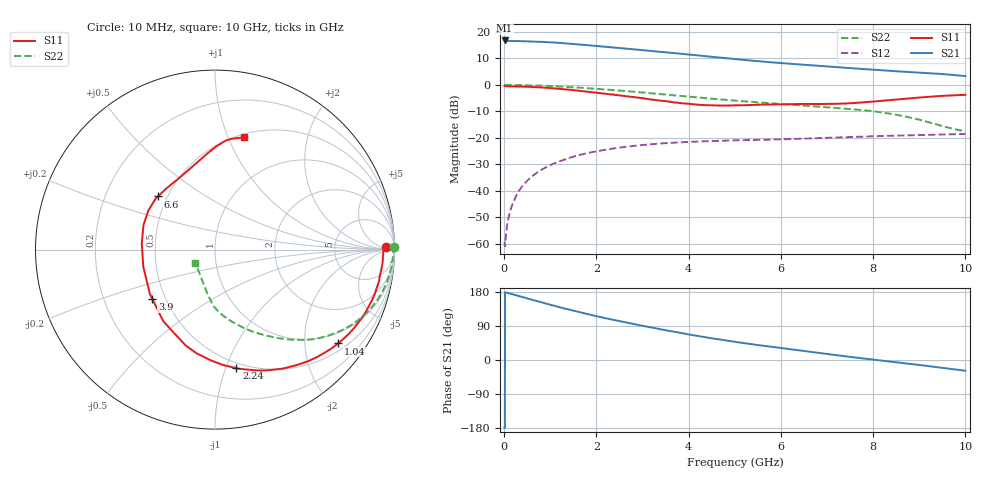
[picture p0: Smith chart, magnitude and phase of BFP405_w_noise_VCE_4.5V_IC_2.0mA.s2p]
! Infineon Technologies  Discrete & RF Semiconductors
! BFP405
! VCE =  4.5 V,  IC =  2.0 mA
! Common Emitter S-Parameters:  Jan 2016
# GHz  S  MA  R  50
!  f  S11  S21  S12  S22
! GHz  MAG  ANG  MAG  ANG  MAG  ANG  MAG  ANG
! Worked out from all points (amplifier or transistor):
!   233 points, 10 MHz to 10 GHz, reference 50 ohm
!   highest |S21| = 16.7 dB at 10 MHz (marker M1)
!   |S21| within 3 dB of that: start of sweep to 2.578 GHz
!   unconditionally stable (mu >= 1): 14.19 MHz to 15.89 MHz; 4.476 GHz to end of sweep
!   at 200 MHz: K = 0.16, MSG = 30.4 dB, |S12| = -44.3 dB
!   at 1.74 GHz: K = 0.31, MSG = 20.6 dB, |S12| = -26.1 dB
!   at 10 GHz: K = 1.67, MAG = 6.1 dB, |S12| = -18.6 dB
!   lowest NFmin = 0.86 dB at 900 MHz
!   S11 on the Smith chart (normalised r, x): 10 MHz: 38, +13; 1.04 GHz: 0.69, -2.81; 2.24 GHz: 0.45, -1.09; 3.9 GHz: 0.42, -0.29; 6.6 GHz: 0.44, +0.32; 10 GHz: 0.53, +1.15
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0.01  0.9542 0.9  6.868 -177.9  0.0011 -15.0  0.9999 0.9
0.02  0.9381 -0.6  6.738 178.6  0.0009 44.6  0.9891 0.2
0.05  0.9365 -1.7  6.693 178.2  0.0018 72.5  0.9936 -0.5
0.095  0.9371 -3.4  6.716 176.2  0.0031 74.8  0.994 -1.5
0.3  0.9309 -10.8  6.688 169.7  0.0093 80.5  0.9897 -5.1
0.5  0.9192 -17.9  6.631 162.7  0.0155 78.5  0.9803 -8.6
0.7  0.9025 -25.1  6.515 156.0  0.0216 75.4  0.9696 -12.1
1.04  0.8626 -37.3  6.307 144.5  0.0316 69.5  0.9439 -17.8
1.38  0.8128 -49.4  6.011 133.7  0.0409 63.6  0.9105 -23.3
1.68  0.7641 -60.0  5.729 124.7  0.0484 58.4  0.8772 -27.8
1.92  0.7238 -68.5  5.489 117.8  0.0539 54.4  0.849 -31.1
2.24  0.6711 -79.8  5.178 109.2  0.0603 49.4  0.8105 -35.3
2.84  0.5808 -101.4  4.643 94.1  0.0708 40.8  0.7368 -42.7
3.4  0.5007 -121.8  4.181 81.0  0.078 33.4  0.6664 -48.9
3.9  0.4446 -141.6  3.803 69.8  0.0828 27.7  0.6076 -54.3
4.5  0.4107 -166.6  3.384 57.2  0.0872 21.7  0.5459 -60.5
5.1  0.4098 172.2  3.004 46.2  0.0898 16.8  0.4952 -66.2
6.6  0.4344 137.0  2.356 22.2  0.0969 8.8  0.3996 -78.6
6.8  0.4335 132.3  2.285 19.0  0.0983 7.8  0.3879 -80.2
7.6  0.4532 113.3  2.035 6.7  0.104 3.6  0.3426 -87.3
8.4  0.5189 97.3  1.824 -4.6  0.1092 -1.0  0.2822 -95.2
10  0.6469 75.3  1.461 -28.3  0.1181 -9.5  0.133 -144.9
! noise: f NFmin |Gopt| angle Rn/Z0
0.9  0.86  0.58  15  0.42
1.8  1.21  0.46  27  0.37
2.4  1.43  0.38  38  0.36
3  1.47  0.38  52  0.33
4  1.69  0.25  80  0.26
5  2.05  0.21  114  0.21
